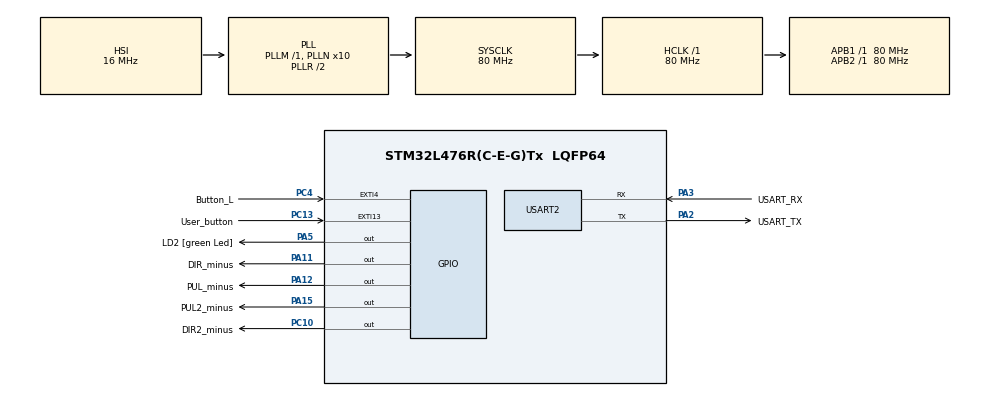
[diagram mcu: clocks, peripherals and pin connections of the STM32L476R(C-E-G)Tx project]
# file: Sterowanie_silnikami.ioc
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Mcu.Family=STM32L4
Mcu.Name=STM32L476R(C-E-G)Tx
Mcu.Package=LQFP64
NVIC.PriorityGroup=NVIC_PRIORITYGROUP_4
NVIC.TIM4_IRQn=true\:0\:0\:false\:false\:true\:true\:true\:true
NVIC.TIM6_DAC_IRQn=true\:0\:0\:false\:false\:true\:true\:true\:true
PA11.GPIO_Label=DIR_minus
PA11.Signal=GPIO_Output
PA12.GPIO_Label=PUL_minus
PA12.Signal=GPIO_Output
PA13\ (JTMS-SWDIO).GPIO_Label=TMS
PA13\ (JTMS-SWDIO).Mode=Serial_Wire
PA13\ (JTMS-SWDIO).Signal=SYS_JTMS-SWDIO
PA14\ (JTCK-SWCLK).GPIO_Label=TCK
PA14\ (JTCK-SWCLK).Mode=Serial_Wire
PA14\ (JTCK-SWCLK).Signal=SYS_JTCK-SWCLK
PA15\ (JTDI).GPIO_Label=PUL2_minus
PA15\ (JTDI).Signal=GPIO_Output
PA2.GPIO_Label=USART_TX
PA2.GPIO_Mode=GPIO_MODE_AF_PP
PA2.GPIO_PuPd=GPIO_NOPULL
PA2.GPIO_Speed=GPIO_SPEED_FREQ_VERY_HIGH
PA2.Mode=Asynchronous
PA2.Signal=USART2_TX
PA3.GPIO_Label=USART_RX
PA3.GPIO_Mode=GPIO_MODE_AF_PP
PA3.GPIO_PuPd=GPIO_NOPULL
PA3.GPIO_Speed=GPIO_SPEED_FREQ_VERY_HIGH
PA3.Mode=Asynchronous
PA3.Signal=USART2_RX
PA5.GPIO_Label=LD2 [green Led]
PA5.GPIO_ModeDefaultOutputPP=GPIO_MODE_OUTPUT_PP
PA5.GPIO_PuPd=GPIO_NOPULL
PA5.GPIO_Speed=GPIO_SPEED_FREQ_LOW
PA5.Signal=GPIO_Output
PB3\ (JTDO-TRACESWO).GPIO_Label=SWO
PB3\ (JTDO-TRACESWO).Signal=SYS_JTDO-SWO
PC10.GPIO_Label=DIR2_minus
PC10.Signal=GPIO_Output
PC13.GPIO_Label=User_button
PC13.GPIO_ModeDefaultEXTI=GPIO_MODE_IT_FALLING
PC13.GPIO_PuPd=GPIO_NOPULL
PC13.Signal=GPXTI13
PC14-OSC32_IN\ (PC14).Mode=LSE-External-Oscillator
PC14-OSC32_IN\ (PC14).Signal=RCC_OSC32_IN
PC15-OSC32_OUT\ (PC15).Mode=LSE-External-Oscillator
PC15-OSC32_OUT\ (PC15).Signal=RCC_OSC32_OUT
PC4.GPIO_Label=Button_L
PC4.Signal=GPXTI4
PH0-OSC_IN\ (PH0).Signal=RCC_OSC_IN
PH1-OSC_OUT\ (PH1).Signal=RCC_OSC_OUT
ProjectManager.HeapSize=0x200
ProjectManager.StackSize=0x400
ProjectManager.TargetToolchain=STM32CubeIDE
RCC.ADCFreq_Value=64000000
RCC.AHBFreq_Value=80000000
RCC.APB1Freq_Value=80000000
RCC.APB1TimFreq_Value=80000000
RCC.APB2Freq_Value=80000000
RCC.APB2TimFreq_Value=80000000
RCC.CortexFreq_Value=80000000
RCC.HCLKFreq_Value=80000000
RCC.HSE_VALUE=8000000
RCC.HSI_VALUE=16000000
RCC.MSI_VALUE=4000000
RCC.PLLN=10
RCC.PLLSourceVirtual=RCC_PLLSOURCE_HSI
RCC.PREFETCH_ENABLE=1
RCC.SYSCLKFreq_VALUE=80000000
RCC.SYSCLKSource=RCC_SYSCLKSOURCE_PLLCLK
RCC.USBFreq_Value=64000000
RCC.VCOOutputFreq_Value=160000000
TIM4.Period=99
TIM4.Prescaler=199
TIM6.Period=99
TIM6.Prescaler=199
USART2.VirtualMode-Asynchronous=VM_ASYNC
VP_TIM4_VS_ClockSourceINT.Mode=Internal
VP_TIM6_VS_ClockSourceINT.Mode=Enable_Timer
board=NUCLEO-L476RG

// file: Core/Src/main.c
/* USER CODE BEGIN Header */
/** sterowanie silnikami
  ******************************************************************************
  * @file           : main.c
  * @brief          : Main program body
  ******************************************************************************
  * @attention
  *
  * Copyright (c) 2024 STMicroelectronics.
  * All rights reserved.
  *
  * This software is licensed under terms that can be found in the LICENSE file
  * in the root directory of this software component.
  * If no LICENSE file comes with this software, it is provided AS-IS.
  *
  ******************************************************************************
  */
/* USER CODE END Header */
#include "main.h"

TIM_HandleTypeDef htim4;
TIM_HandleTypeDef htim6;

UART_HandleTypeDef huart2;

void SystemClock_Config(void);
static void MX_GPIO_Init(void);
static void MX_USART2_UART_Init(void);
static void MX_TIM4_Init(void);
static void MX_TIM6_Init(void);

/* USER CODE BEGIN 0 */
int wypelnienie_uart=49;
int wypelnienie_uart2=49;
int tim4_period = 99;

int tim6_period = 99;
///////////////////////////////// receve
#define LINE_MAX_LENGTH	80

static char line_buffer[LINE_MAX_LENGTH + 1];
static uint32_t line_length;

void line_append(uint8_t value)
{
	if (value == '\r' || value == '\n') {
		// odebraliśmy znak końca linii
		if (line_length > 0) {
			// jeśli bufor nie jest pusty to dodajemy 0 na końcu linii
			line_buffer[line_length] = '\0';
			// przetwarzamy dane
			printf("Otrzymano: %s\n", line_buffer);

			//kody: prawy/lewy/oba | przód/tyl | wypelnienie
			//          P/L/O      |    P/T    |    0-99
			// stop = SP

			if (strcmp(line_buffer, "wlacz") == 0) {
				HAL_GPIO_WritePin(LD2_GPIO_Port, LD2_Pin, GPIO_PIN_SET);
			}
			else if (strcmp(line_buffer, "wylacz") == 0) {
				HAL_GPIO_WritePin(LD2_GPIO_Port, LD2_Pin, GPIO_PIN_RESET);
			}

			else if (line_buffer[0]=='O'&&line_buffer[1]=='P'){ //OP
				printf("jade");
				HAL_GPIO_WritePin(DIR_minus_GPIO_Port, DIR_minus_Pin, 1);  //direction1 1 = przod
				HAL_GPIO_WritePin(DIR2_minus_GPIO_Port, DIR2_minus_Pin, 0); //direction2 0 = przod
				HAL_TIM_Base_Start_IT(&htim4);
				HAL_TIM_Base_Start_IT(&htim6);
				wypelnienie_uart = ( ( (int)line_buffer[2]-48 )*10 ) + ( (int)line_buffer[3]-48 );
			}
			else if (line_buffer[0]=='O'&&line_buffer[1]=='T'){
				HAL_GPIO_WritePin(DIR_minus_GPIO_Port, DIR_minus_Pin, 0);  //direction1 1 = przod
				HAL_GPIO_WritePin(DIR2_minus_GPIO_Port, DIR2_minus_Pin, 1); //direction2 0 = przod
				HAL_TIM_Base_Start_IT(&htim4);
				HAL_TIM_Base_Start_IT(&htim6);
				wypelnienie_uart = ( ( (int)line_buffer[2]-48 )*10 ) + ( (int)line_buffer[3]-48 );
			}
			else if (line_buffer[0]=='S'&&line_buffer[1]=='T'){
				HAL_TIM_Base_Stop_IT(&htim4);
				HAL_TIM_Base_Stop_IT(&htim6);
				wypelnienie_uart = ( ( (int)line_buffer[2]-48 )*10 ) + ( (int)line_buffer[3]-48 );
			}/*
			else if (line_buffer[0]=='P'&&line_buffer[1]=='P'){
				HAL_TIM_Base_Start_IT(&htim4);
				HAL_GPIO_WritePin(DIR2_minus_GPIO_Port, DIR2_minus_Pin, 1); //direction2 0 = przod
				HAL_TIM_Base_Start_IT(&htim6);
				HAL_GPIO_WritePin(DIR_minus_GPIO_Port, DIR_minus_Pin, 1);  //direction1 0 = tyl
				wypelnienie_uart = ( ( (int)line_buffer[2]-48 )*10 ) + ( (int)line_buffer[3]-48 );
			}
			else if (line_buffer[0]=='L'&&line_buffer[1]=='P'){
				HAL_TIM_Base_Start_IT(&htim4);
				HAL_GPIO_WritePin(DIR2_minus_GPIO_Port, DIR2_minus_Pin, 0); //direction2 0 = przod
				HAL_TIM_Base_Start_IT(&htim6);
				HAL_GPIO_WritePin(DIR_minus_GPIO_Port, DIR_minus_Pin, 0);  //direction1 0 = tyl
				wypelnienie_uart = ( ( (int)line_buffer[2]-48 )*10 ) + ( (int)line_buffer[3]-48 );
			}*/
			else if (line_buffer[0]=='D'&&line_buffer[1]=='1'&&line_buffer[2]=='T'){ //Led 1 On
				HAL_GPIO_WritePin(LD2_GPIO_Port, LD2_Pin, 1);
			}
			else if (line_buffer[0]=='D'&&line_buffer[1]=='1'&&line_buffer[2]=='F'){ //Led 1 On
				HAL_GPIO_WritePin(LD2_GPIO_Port, LD2_Pin, 0);
			}
			else {
				printf("Nieznane polecenie: %s\n", line_buffer);
			}

			//wypelnienie_uart = (int)(line_buffer[2] - '0')*10 + (int)(line_buffer[3] - '0');

			// zaczynamy zbieranie danych od nowa
			line_length = 0;

		}
	}
	else {
		if (line_length >= LINE_MAX_LENGTH) {
			// za dużo danych, usuwamy wszystko co odebraliśmy dotychczas
			line_length = 0;
		}
		// dopisujemy wartość do bufora
		line_buffer[line_length++] = value;
	}
}

/////////////////////////////////////////////////  send
int __io_putchar(int ch)
{
	if (ch == '\n'){
		uint8_t ch2 = '\r';
		HAL_UART_Transmit(&huart2, &ch2, 1, HAL_MAX_DELAY);
	}

	  HAL_UART_Transmit(&huart2, (uint8_t*)&ch, 1, HAL_MAX_DELAY);
	  return 1;
}
/////////////////////////

/* USER CODE END 0 */

int main(void)
{

  /* MCU Configuration--------------------------------------------------------*/

  /* Reset of all peripherals, Initializes the Flash interface and the Systick. */
  HAL_Init();

  /* Configure the system clock */
  SystemClock_Config();

  /* Initialize all configured peripherals */
  MX_GPIO_Init();
  MX_USART2_UART_Init();
  MX_TIM4_Init();
  MX_TIM6_Init();
  /* USER CODE BEGIN 2 */
  int i;

  for (i = 0; i < 10; i++) {
	  HAL_GPIO_TogglePin(LD2_GPIO_Port, LD2_Pin);
	  HAL_Delay(100);
  }
  /* USER CODE END 2 */

  /* Infinite loop */
  /* USER CODE BEGIN WHILE */
  int a=0;
  int b=0;
  printf("Hello World!\n");
  while (1)
  {

	  uint8_t test;
	  uint8_t value;
	  if (HAL_UART_Receive(&huart2, &value, 1, 0) == HAL_OK) {
		  line_append(value);
		  test = value;
		  //printf("otrzymano: ");
		  //printf(value);
	  }

	  ////////////////////////////////////////test////////////////////////////////////////////////////test////
	  if (HAL_GPIO_ReadPin(User_button_GPIO_Port, User_button_Pin)==0){
		  if (a==1){
			  printf("b1\n");
		  }
		  a=0;
	  }
	  if (HAL_GPIO_ReadPin(User_button_GPIO_Port, User_button_Pin)==1){  //detecting edge
		  a=1;
	  }

	  if (HAL_GPIO_ReadPin(User_button_GPIO_Port, User_button_Pin)==0){
		  HAL_TIM_Base_Start_IT(&htim4);
		  HAL_GPIO_WritePin(DIR2_minus_GPIO_Port, DIR2_minus_Pin, 0); //direction2 0 = przod
		  HAL_TIM_Base_Start_IT(&htim6);
		  HAL_GPIO_WritePin(DIR_minus_GPIO_Port, DIR_minus_Pin, 1);  //direction1 1 = przod
	  }else {
		  HAL_TIM_Base_Stop_IT(&htim4);
		  HAL_GPIO_WritePin(DIR2_minus_GPIO_Port, DIR2_minus_Pin, 0); //direction2 0 = przod
		  HAL_TIM_Base_Stop_IT(&htim6);
		  HAL_GPIO_WritePin(DIR_minus_GPIO_Port, DIR_minus_Pin, 1);  //direction1 1 = przod
	  }

	  //HAL_GPIO_WritePin(DIR_minus_GPIO_Port, DIR_minus_Pin, 1);  //direction1 1 = przod
	  //HAL_GPIO_WritePin(DIR2_minus_GPIO_Port, DIR2_minus_Pin, 0); //direction2 0 = przod

	  /*
	  if (HAL_GPIO_ReadPin(User_button_GPIO_Port, User_button_Pin)==0)
	  {
		  HAL_TIM_Base_Start_IT(&htim4);
		  HAL_TIM_Base_Start_IT(&htim6);
	  }else{
		  HAL_TIM_Base_Stop_IT(&htim4);//
		  HAL_TIM_Base_Stop_IT(&htim6);
	  }
	  */
    /* USER CODE END WHILE */

  }
}

void SystemClock_Config(void)
{
  RCC_OscInitTypeDef RCC_OscInitStruct = {0};
  RCC_ClkInitTypeDef RCC_ClkInitStruct = {0};

  /** Configure the main internal regulator output voltage
  */
  if (HAL_PWREx_ControlVoltageScaling(PWR_REGULATOR_VOLTAGE_SCALE1) != HAL_OK)
  {
    Error_Handler();
  }

  /** Initializes the RCC Oscillators according to the specified parameters
  * in the RCC_OscInitTypeDef structure.
  */
  RCC_OscInitStruct.OscillatorType = RCC_OSCILLATORTYPE_HSI;
  RCC_OscInitStruct.HSIState = RCC_HSI_ON;
  RCC_OscInitStruct.HSICalibrationValue = RCC_HSICALIBRATION_DEFAULT;
  RCC_OscInitStruct.PLL.PLLState = RCC_PLL_ON;
  RCC_OscInitStruct.PLL.PLLSource = RCC_PLLSOURCE_HSI;
  RCC_OscInitStruct.PLL.PLLM = 1;
  RCC_OscInitStruct.PLL.PLLN = 10;
  RCC_OscInitStruct.PLL.PLLP = RCC_PLLP_DIV7;
  RCC_OscInitStruct.PLL.PLLQ = RCC_PLLQ_DIV2;
  RCC_OscInitStruct.PLL.PLLR = RCC_PLLR_DIV2;
  if (HAL_RCC_OscConfig(&RCC_OscInitStruct) != HAL_OK)
  {
    Error_Handler();
  }

  /** Initializes the CPU, AHB and APB buses clocks
  */
  RCC_ClkInitStruct.ClockType = RCC_CLOCKTYPE_HCLK|RCC_CLOCKTYPE_SYSCLK
                              |RCC_CLOCKTYPE_PCLK1|RCC_CLOCKTYPE_PCLK2;
  RCC_ClkInitStruct.SYSCLKSource = RCC_SYSCLKSOURCE_PLLCLK;
  RCC_ClkInitStruct.AHBCLKDivider = RCC_SYSCLK_DIV1;
  RCC_ClkInitStruct.APB1CLKDivider = RCC_HCLK_DIV1;
  RCC_ClkInitStruct.APB2CLKDivider = RCC_HCLK_DIV1;

  if (HAL_RCC_ClockConfig(&RCC_ClkInitStruct, FLASH_LATENCY_4) != HAL_OK)
  {
    Error_Handler();
  }
}

static void MX_TIM4_Init(void)
{

  TIM_ClockConfigTypeDef sClockSourceConfig = {0};
  TIM_MasterConfigTypeDef sMasterConfig = {0};

  htim4.Instance = TIM4;
  htim4.Init.Prescaler = 199;
  htim4.Init.CounterMode = TIM_COUNTERMODE_UP;
  htim4.Init.Period = 99;
  htim4.Init.ClockDivision = TIM_CLOCKDIVISION_DIV1;
  htim4.Init.AutoReloadPreload = TIM_AUTORELOAD_PRELOAD_DISABLE;
  if (HAL_TIM_Base_Init(&htim4) != HAL_OK)
  {
    Error_Handler();
  }
  sClockSourceConfig.ClockSource = TIM_CLOCKSOURCE_INTERNAL;
  if (HAL_TIM_ConfigClockSource(&htim4, &sClockSourceConfig) != HAL_OK)
  {
    Error_Handler();
  }
  sMasterConfig.MasterOutputTrigger = TIM_TRGO_RESET;
  sMasterConfig.MasterSlaveMode = TIM_MASTERSLAVEMODE_DISABLE;
  if (HAL_TIMEx_MasterConfigSynchronization(&htim4, &sMasterConfig) != HAL_OK)
  {
    Error_Handler();
  }

}

static void MX_TIM6_Init(void)
{

  TIM_MasterConfigTypeDef sMasterConfig = {0};

  htim6.Instance = TIM6;
  htim6.Init.Prescaler = 199;
  htim6.Init.CounterMode = TIM_COUNTERMODE_UP;
  htim6.Init.Period = 99;
  htim6.Init.AutoReloadPreload = TIM_AUTORELOAD_PRELOAD_DISABLE;
  if (HAL_TIM_Base_Init(&htim6) != HAL_OK)
  {
    Error_Handler();
  }
  sMasterConfig.MasterOutputTrigger = TIM_TRGO_RESET;
  sMasterConfig.MasterSlaveMode = TIM_MASTERSLAVEMODE_DISABLE;
  if (HAL_TIMEx_MasterConfigSynchronization(&htim6, &sMasterConfig) != HAL_OK)
  {
    Error_Handler();
  }

}

static void MX_USART2_UART_Init(void)
{

  huart2.Instance = USART2;
  huart2.Init.BaudRate = 115200;
  huart2.Init.WordLength = UART_WORDLENGTH_8B;
  huart2.Init.StopBits = UART_STOPBITS_1;
  huart2.Init.Parity = UART_PARITY_NONE;
  huart2.Init.Mode = UART_MODE_TX_RX;
  huart2.Init.HwFlowCtl = UART_HWCONTROL_NONE;
  huart2.Init.OverSampling = UART_OVERSAMPLING_16;
  huart2.Init.OneBitSampling = UART_ONE_BIT_SAMPLE_DISABLE;
  huart2.AdvancedInit.AdvFeatureInit = UART_ADVFEATURE_NO_INIT;
  if (HAL_UART_Init(&huart2) != HAL_OK)
  {
    Error_Handler();
  }

}

static void MX_GPIO_Init(void)
{
  GPIO_InitTypeDef GPIO_InitStruct = {0};

  /* GPIO Ports Clock Enable */
  __HAL_RCC_GPIOC_CLK_ENABLE();
  __HAL_RCC_GPIOH_CLK_ENABLE();
  __HAL_RCC_GPIOA_CLK_ENABLE();
  __HAL_RCC_GPIOB_CLK_ENABLE();

  /*Configure GPIO pin Output Level */
  HAL_GPIO_WritePin(GPIOA, LD2_Pin|DIR_minus_Pin|PUL_minus_Pin|PUL2_minus_Pin, GPIO_PIN_RESET);

  /*Configure GPIO pin Output Level */
  HAL_GPIO_WritePin(DIR2_minus_GPIO_Port, DIR2_minus_Pin, GPIO_PIN_RESET);

  /*Configure GPIO pin : User_button_Pin */
  GPIO_InitStruct.Pin = User_button_Pin;
  GPIO_InitStruct.Mode = GPIO_MODE_IT_FALLING;
  GPIO_InitStruct.Pull = GPIO_NOPULL;
  HAL_GPIO_Init(User_button_GPIO_Port, &GPIO_InitStruct);

  /*Configure GPIO pins : LD2_Pin DIR_minus_Pin PUL_minus_Pin PUL2_minus_Pin */
  GPIO_InitStruct.Pin = LD2_Pin|DIR_minus_Pin|PUL_minus_Pin|PUL2_minus_Pin;
  GPIO_InitStruct.Mode = GPIO_MODE_OUTPUT_PP;
  GPIO_InitStruct.Pull = GPIO_NOPULL;
  GPIO_InitStruct.Speed = GPIO_SPEED_FREQ_LOW;
  HAL_GPIO_Init(GPIOA, &GPIO_InitStruct);

  /*Configure GPIO pin : Button_L_Pin */
  GPIO_InitStruct.Pin = Button_L_Pin;
  GPIO_InitStruct.Mode = GPIO_MODE_IT_RISING;
  GPIO_InitStruct.Pull = GPIO_NOPULL;
  HAL_GPIO_Init(Button_L_GPIO_Port, &GPIO_InitStruct);

  /*Configure GPIO pin : DIR2_minus_Pin */
  GPIO_InitStruct.Pin = DIR2_minus_Pin;
  GPIO_InitStruct.Mode = GPIO_MODE_OUTPUT_PP;
  GPIO_InitStruct.Pull = GPIO_NOPULL;
  GPIO_InitStruct.Speed = GPIO_SPEED_FREQ_LOW;
  HAL_GPIO_Init(DIR2_minus_GPIO_Port, &GPIO_InitStruct);

}

/* USER CODE BEGIN 4 */
void HAL_GPIO_EXTI_Callback(uint16_t GPIO_Pin)
{
	//if (GPIO_Pin == Button_L_Pin){
	//	HAL_GPIO_TogglePin(LD2_GPIO_Port, LD2_Pin);
	//}
}

void HAL_TIM_PeriodElapsedCallback(TIM_HandleTypeDef *htim)
{

	if (htim == &htim6){
		HAL_GPIO_TogglePin(PUL_minus_GPIO_Port, PUL_minus_Pin);
	}

	if (htim == &htim4){
		HAL_GPIO_TogglePin(PUL2_minus_GPIO_Port, PUL2_minus_Pin);
	}
}
/* USER CODE END 4 */

void Error_Handler(void)
{
  __disable_irq();
  while (1)
  {
  }
}
